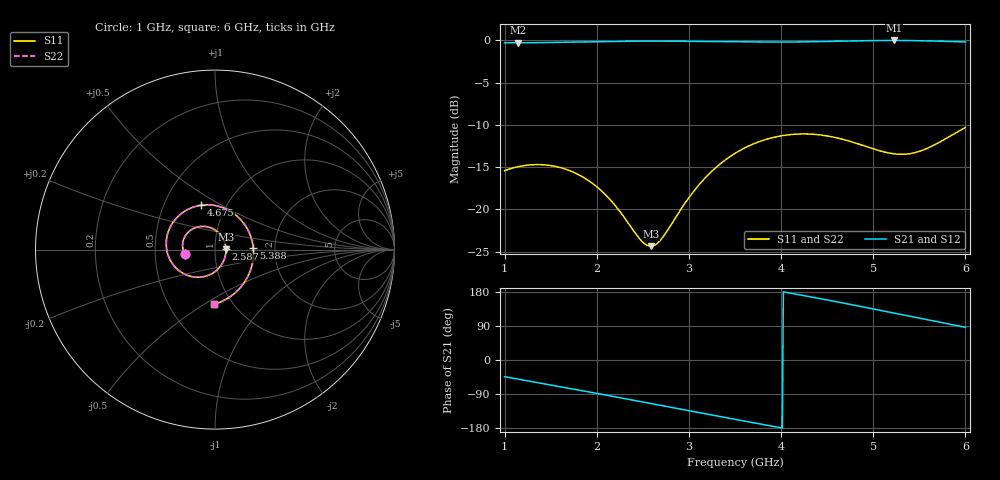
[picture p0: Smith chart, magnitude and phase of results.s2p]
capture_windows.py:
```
"""Capture the windows of the GUI to PNG files, with no display.

A capture of 2026-08-04 found a defect that the eye did not find. The
sequence of the pictures showed the package choice go back to "No
parasitics" after an edit. A person who clicks thinks that they did that.
That harness stayed in the scratchpad of a session. Thus the subsequent
change to the dialog had nothing to compare against. This file is that
harness, in `validation/`.

It is a TOOL and not a test: it writes pictures and asserts nothing.
`test_dialog.py` and `test_views.py` hold the assertions. Use this when you
change the LAYOUT, because no assertion examines it. Capture before the
change and after it, and look at the two sets.

    "%LOCALAPPDATA%\\Programs\\KiCad\\10.0\\bin\\python.exe" capture_windows.py [outdir]

**Use `PrintWindow` and not a `ScreenDC` blit.** PrintWindow gets the
content of the window itself. Thus a different window cannot be on top of
it, and the position on the screen has no effect. Two warnings:

- `Show()` the window and do some rounds of `wx.Yield()` and `Update()`
  first. One `Yield` is not sufficient.
- A window that a handler HID gives an empty picture.
"""
import ctypes
import os
import sys

HERE = os.path.dirname(os.path.abspath(__file__))
sys.path.insert(0, os.path.join(os.path.dirname(HERE), "plugins"))

import pcbnew  # noqa: E402
import wx  # noqa: E402

import board_reader  # noqa: E402
import gui  # noqa: E402

BOARD = os.path.join(HERE, "out_lumped_coarse", "series_r.kicad_pcb")
RESULTS = os.path.join(HERE, "out_coarse", "results.s2p")
PW_RENDERFULLCONTENT = 2


def shot(win, path):
    """Write the content of `win` to `path` as a PNG."""
    win.Show()
    for _ in range(6):  # one Yield is not sufficient for the canvas
        wx.Yield()
        win.Update()
    u = ctypes.windll.user32
    # The argtypes are necessary: an HWND is larger than an int.
    # Without them, ctypes stops with "int too long to convert".
    u.PrintWindow.argtypes = [ctypes.c_void_p, ctypes.c_void_p, ctypes.c_uint]
    size = win.GetSize()
    bmp = wx.Bitmap(size.GetWidth(), size.GetHeight())
    dc = wx.MemoryDC(bmp)
    u.PrintWindow(win.GetHandle(), dc.GetHandle(), PW_RENDERFULLCONTENT)
    dc.SelectObject(wx.NullBitmap)
    bmp.ConvertToImage().SaveFile(path, wx.BITMAP_TYPE_PNG)
    print("   wrote %s (%d x %d)" % (os.path.basename(path),
                                     size.GetWidth(), size.GetHeight()))


def dialog(extra=()):
    board = pcbnew.LoadBoard(BOARD)
    pads = [p for fp in board.GetFootprints()
            if fp.GetReference() in ("P1", "P2") for p in fp.Pads()]
    pre = board_reader.extract(board, pads, 1.0)
    les = list(pre["lumped_elements"]) + list(extra)
    return gui.SettingsDialog(None, pre["ports"], HERE, les, preview=pre,
                              packages=board_reader.package_presets(),
                              esr=board_reader.esr_presets())


def unknown(ref):
    board = pcbnew.LoadBoard(BOARD)
    pads = [p for fp in board.GetFootprints()
            if fp.GetReference() in ("P1", "P2") for p in fp.Pads()]
    e = board_reader.extract(board, pads, 1.0)["lumped_elements"][0]
    return dict(e, ref=ref, type=None, value=None, package=None,
                esl=0.0, esr=0.0)


def capture_dialog(out):
    """The settings dialog, in the conditions that a change of the layout
    moves."""
    print("the settings dialog:")
    cases = [
        ("dialog-1-part", []),
        ("dialog-5-parts", [unknown("D%d" % k) for k in range(4)]),
        ("dialog-20-parts", [unknown("D%d" % k) for k in range(19)]),
    ]
    for name, extra in cases:
        d = dialog(extra)
        shot(d, os.path.join(out, name + ".png"))
        d.Destroy()
    # The condition where the capture of 2026-08-04 found that defect: an
    # edit of the ESL must move the row to "Custom".
    d = dialog()
    _, _, ch, esl, _ = d.para_rows[0]
    ch.SetSelection(ch.GetStrings().index("0402 Package"))
    ev = wx.CommandEvent(wx.EVT_CHOICE.typeId, ch.GetId())
    ev.SetEventObject(ch)
    ch.GetEventHandler().ProcessEvent(ev)
    shot(d, os.path.join(out, "dialog-preset-0402.png"))
    esl.SetValue("0.9")
    ev = wx.CommandEvent(wx.EVT_TEXT.typeId, esl.GetId())
    ev.SetEventObject(esl)
    esl.GetEventHandler().ProcessEvent(ev)
    shot(d, os.path.join(out, "dialog-after-esl-edit.png"))
    print("   the last two pictures are the sequence to examine: the "
          "second\n   one must show \"Custom\", and not \"No parasitics\".")
    d.Destroy()


def capture_results(out):
    """All the views of the results window."""
    if not os.path.isfile(RESULTS):
        print("the results window: SKIPPED (run `run_headless.py coarse msl`)")
        return
    print("the results window:")
    f = gui.ResultsFrame(None, RESULTS)
    f.Show()
    for i, name in enumerate(f.choice.GetStrings()):
        f.choice.SetSelection(i)
        f._plot()
        wx.Yield()
        safe = "".join(c if c.isalnum() else "-" for c in name).strip("-")
        # The figure holds the picture. Thus savefig does not use a window,
        # and it gives the same result on all machines.
        f.figure.savefig(os.path.join(out, "view-%02d-%s.png" % (i, safe)),
                         dpi=90)
    print("   wrote %d views with figure.savefig"
          % len(f.choice.GetStrings()))
    f.Destroy()


def main(out=None):
    out = out or os.path.join(HERE, "out_capture")
    os.makedirs(out, exist_ok=True)
    print("the pictures go into %s\n" % out)
    capture_dialog(out)
    capture_results(out)
    print("\ndone. Compare this directory against the one from before your "
          "change.")


if __name__ == "__main__":
    app = wx.App(False)
    main(*(sys.argv[1:] or []))
```
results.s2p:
! rfsim (KiCad + openEMS)
# HZ S RI R 50
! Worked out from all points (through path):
!   401 points, 1 GHz to 6 GHz, reference 50 ohm
!   highest |S21| = -0.03 dB at 5.225 GHz (marker M1); lowest = -0.3 dB at 1.15 GHz (marker M2)
!   group delay of S21, straight-line fit = 127 ps
!   lowest |S11| = -24.3 dB at 2.587 GHz (marker M3), VSWR 1.13, Z = 56.4 + j0.272 ohm
!   |S11| at or under -10 dB: start of sweep to end of sweep
!   |S22| runs from -24.3 to -10.3 dB; largest |S21 - S12| = 0.00061
!   S11 on the Smith chart (normalised r, x): 1 GHz: 0.71, -0.04; 2.587 GHz: 1.13, +0.01; 4.675 GHz: 0.76, +0.40; 5.388 GHz: 1.54, +0.02; 6 GHz: 0.82, -0.55
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1e9  -0.1677 -0.0241  0.6942 -0.6726  0.6948 -0.6725  -0.1674 -0.0243
1.15e9  -0.179 0.00519  0.6131 -0.7465  0.6132 -0.747  -0.1791 0.00501
1.8625e9  -0.0848 0.1283  0.1388 -0.9682  0.1386 -0.9684  -0.0849 0.1283
2.5875e9  0.0606 0.0024  -0.4167 -0.8956  -0.4169 -0.8955  0.0606 0.00241
3.1e9  -0.0216 -0.1362  -0.7364 -0.6533  -0.7365 -0.6533  -0.0216 -0.1362
3.5e9  -0.1626 -0.1399  -0.8985 -0.3887  -0.8984 -0.3887  -0.1626 -0.1399
4.1e9  -0.2692 0.0646  -0.9744 0.0591  -0.9743 0.0591  -0.2691 0.0646
4.675e9  -0.0782 0.2471  -0.8583 0.4901  -0.8581 0.4901  -0.0781 0.2471
5.225e9  0.1853 0.1053  -0.5559 0.8277  -0.5556 0.8278  0.1853 0.1053
5.3875e9  0.2131 0.00716  -0.4356 0.8954  -0.4354 0.8951  0.2131 0.00715
6e9  -0.00559 -0.3052  0.0619 0.9748  0.0621 0.9743  -0.00542 -0.3052
